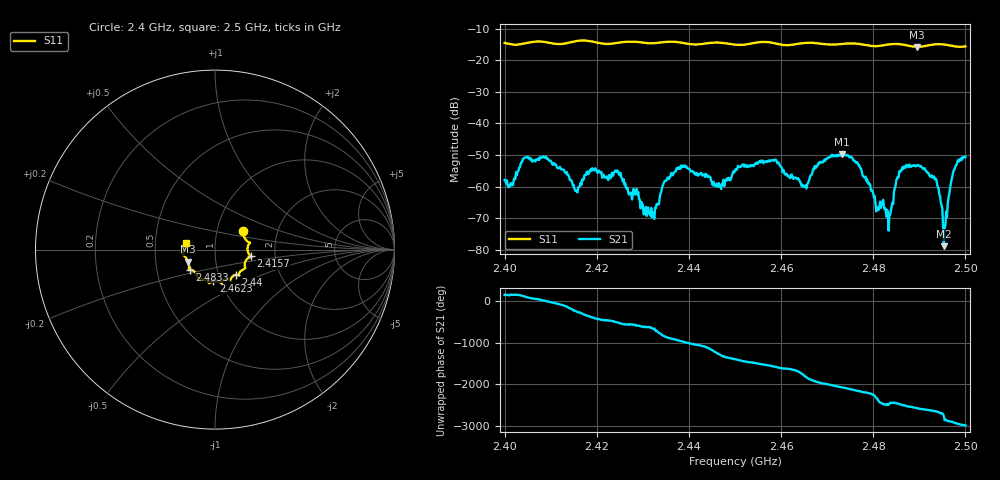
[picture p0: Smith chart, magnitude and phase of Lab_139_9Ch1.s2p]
# Hz S RI R 50
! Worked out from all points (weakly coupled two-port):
!   601 points, 2.4 GHz to 2.5 GHz, reference 50 ohm
!   highest |S21| = -49.73 dB at 2.4732 GHz (marker M1); lowest = -78.9 dB at 2.4953 GHz (marker M2)
!   lowest |S11| = -15.7 dB at 2.4895 GHz (marker M3), VSWR 1.39, Z = 36.7 - j5.11 ohm
!   |S11| at or under -10 dB: start of sweep to end of sweep
!   S12 and S22 are empty: the file has one direction only
!   S11 on the Smith chart (normalised r, x): 2.4 GHz: 1.33, +0.29; 2.4157 GHz: 1.49, -0.12; 2.44 GHz: 1.21, -0.35; 2.4623 GHz: 0.92, -0.34; 2.4833 GHz: 0.74, -0.17; 2.5 GHz: 0.72, +0.05
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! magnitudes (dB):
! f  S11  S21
! 2.4 GHz  -14.5  -57.9
! 2.4085 GHz  -14.2  -50.4
! 2.4157 GHz  -13.9  -61.7
! 2.4167 GHz  -13.7  -59.4
! 2.4243 GHz  -14.5  -55.4
! 2.4303 GHz  -14.4  -68.6
! 2.4333 GHz  -14.4  -65.4
! 2.435 GHz  -14.2  -58.2
! 2.44 GHz  -14.8  -54.4
! 2.4465 GHz  -14.4  -58.9
! 2.45 GHz  -15.0  -54.9
! 2.4585 GHz  -14.6  -51.8
! 2.4623 GHz  -15.1  -56.2
! 2.4667 GHz  -14.4  -56.2
! 2.4732 GHz  -14.8  -49.7
! 2.4833 GHz  -15.0  -73.9
! 2.4858 GHz  -14.9  -55.4
! 2.4895 GHz  -15.7  -53.3
! 2.4935 GHz  -14.9  -57.5
! 2.4953 GHz  -15.0  -78.9
! 2.4977 GHz  -15.6  -54.5
! 2.5 GHz  -15.6  -50.7
